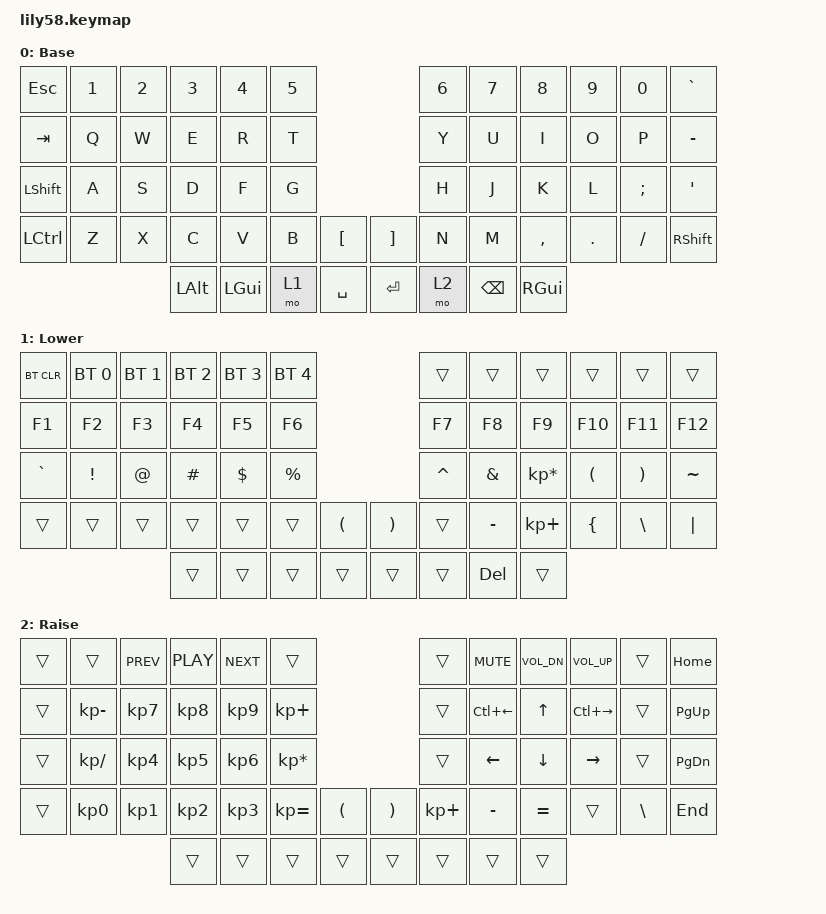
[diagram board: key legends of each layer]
/*
 * Copyright (c) 2020 The ZMK Contributors
 *
 * SPDX-License-Identifier: MIT
 */

#include <behaviors.dtsi>
#include <dt-bindings/zmk/bt.h>
#include <dt-bindings/zmk/keys.h>

/ {
    keymap {
        compatible = "zmk,keymap";

        default_layer {
            // ------------------------------------------------------------------------------------------------------------
            // |  ESC  |  1  |  2  |  3   |  4   |  5   |                   |  6   |  7    |  8    |  9   |   0   |   `   |
            // |  TAB  |  Q  |  W  |  E   |  R   |  T   |                   |  Y   |  U    |  I    |  O   |   P   |   -   |
            // | SHIFT |  A  |  S  |  D   |  F   |  G   |                   |  H   |  J    |  K    |  L   |   ;   |   '   |
            // | CTRL  |  Z  |  X  |  C   |  V   |  B   |   "["  |  |  "]"  |  N   |  M    |  ,    |  .   |   /   | SHIFT |
            //                     | ALT  | GUI  | LOWER|  SPACE |  | ENTER | RAISE| BSPC  | GUI   |

            display-name = "Base";
            bindings = <
&kp ESC           &kp N1  &kp N2  &kp N3    &kp N4    &kp N5                          &kp N6  &kp N7    &kp N8     &kp N9   &kp N0    &kp GRAVE
&kp TAB           &kp Q   &kp W   &kp E     &kp R     &kp T                           &kp Y   &kp U     &kp I      &kp O    &kp P     &kp MINUS
&kp LEFT_SHIFT    &kp A   &kp S   &kp D     &kp F     &kp G                           &kp H   &kp J     &kp K      &kp L    &kp SEMI  &kp SQT
&kp LEFT_CONTROL  &kp Z   &kp X   &kp C     &kp V     &kp B   &kp LBKT     &kp RBKT   &kp N   &kp M     &kp COMMA  &kp DOT  &kp FSLH  &kp RSHFT
                                  &kp LALT  &kp LGUI  &mo 1   &kp SPACE    &kp ENTER  &mo 2   &kp BSPC  &kp RGUI
            >;
        };

        lower_layer {
            // ------------------------------------------------------------------------------------------------------------
            // | BTCLR | BT1 | BT2 |  BT3 |  BT4 |  BT5 |                   |      |       |       |      |       |       |
            // |  F1   |  F2 |  F3 |  F4  |  F5  |  F6  |                   |  F7  |  F8   |  F9   |  F10 |  F11  |  F12  |
            // |   `   |  !  |  @  |  #   |  $   |  %   |                   |  ^   |  &    |  *    |  (   |   )   |   ~   |
            // |       |     |     |      |      |      |        |  |       |      |  _    |  +    |  {   |   }   |  "|"  |
            //                     |      |      |      |        |  |       |      |       |       |

            display-name = "Lower";
            bindings = <
&bt BT_CLR  &bt BT_SEL 0  &bt BT_SEL 1  &bt BT_SEL 2  &bt BT_SEL 3  &bt BT_SEL 4                        &trans     &trans     &trans           &trans    &trans    &trans
&kp F1      &kp F2        &kp F3        &kp F4        &kp F5        &kp F6                              &kp F7     &kp F8     &kp F9           &kp F10   &kp F11   &kp F12
&kp GRAVE   &kp EXCL      &kp AT        &kp HASH      &kp DOLLAR    &kp PRCNT                           &kp CARET  &kp AMPS   &kp KP_MULTIPLY  &kp LPAR  &kp RPAR  &kp TILDE
&trans      &trans        &trans        &trans        &trans        &trans        &kp LPAR    &kp RPAR  &trans     &kp MINUS  &kp KP_PLUS      &kp LBRC  &kp BSLH  &kp PIPE
                                        &trans        &trans        &trans        &trans      &trans    &trans     &kp DEL    &trans
            >;
        };

        raise_layer {
            // ------------------------------------------------------------------------------------------------------------
            // |       |     |PREV | PLAY | NEXT |      |                   |      |  MUTE | VOL_LO| VOL_HI|       | HOME  |
            // |       |  -  |  7  |   8  |   9  |   +  |                   |      |CTRL <-|   ^   |CTRL ->|       | PG_UP |
            // |       |  /  |  4  |   5  |   6  |   *  |                   |      |   <-  |   v   |  ^    |       | PG_DN |
            // |       |     |  1  |   2  |   3  |   =  |        |  |       |  +   |   -   |   =   |       |   \   | END   |
            //                     |      |      |      |        |  |       |      |       |       |

            display-name = "Raise";
            bindings = <
&trans  &trans           &kp C_PREV       &kp C_PLAY       &kp C_NEXT       &trans                                 &trans       &kp K_MUTE    &kp C_VOL_DN  &kp C_VOL_UP   &trans    &kp HOME
&trans  &kp KP_SUBTRACT  &kp KP_NUMBER_7  &kp KP_NUMBER_8  &kp KP_NUMBER_9  &kp KP_PLUS                            &trans       &kp LC(LEFT)  &kp UP        &kp LC(RIGHT)  &trans    &kp PAGE_UP
&trans  &kp KP_DIVIDE    &kp KP_NUMBER_4  &kp KP_NUMBER_5  &kp KP_NUMBER_6  &kp KP_MULTIPLY                        &trans       &kp LEFT      &kp DOWN      &kp RIGHT      &trans    &kp PAGE_DOWN
&trans  &kp KP_NUMBER_0  &kp KP_NUMBER_1  &kp KP_NUMBER_2  &kp KP_NUMBER_3  &kp KP_EQUAL     &kp LPAR    &kp RPAR  &kp KP_PLUS  &kp MINUS     &kp EQUAL     &trans         &kp BSLH  &kp END
                                          &trans           &trans           &trans           &trans      &trans    &trans       &trans        &trans
            >;
        };
    };
};
